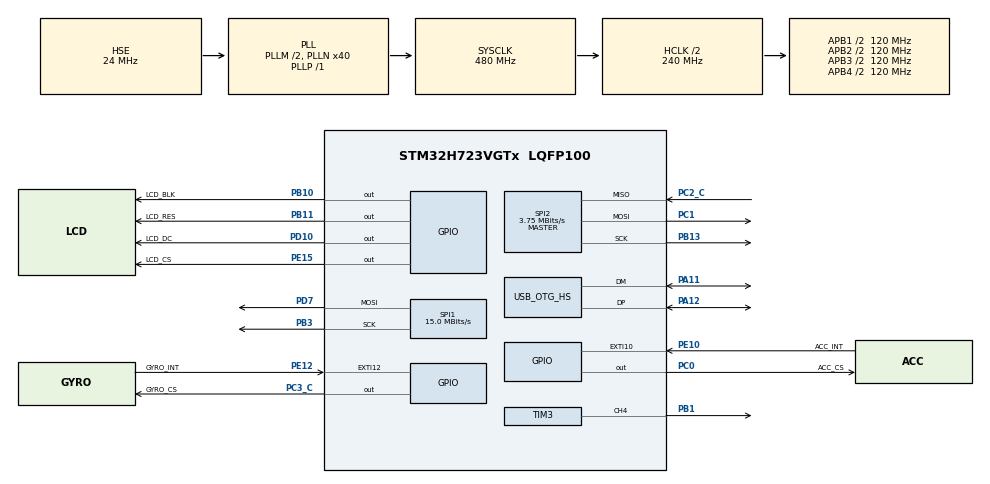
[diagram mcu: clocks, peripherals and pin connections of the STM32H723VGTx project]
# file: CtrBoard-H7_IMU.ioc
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Dma.Request0=SPI2_RX
Dma.Request1=SPI2_TX
Dma.SPI2_RX.0.Direction=DMA_PERIPH_TO_MEMORY
Dma.SPI2_RX.0.EventEnable=DISABLE
Dma.SPI2_RX.0.FIFOMode=DMA_FIFOMODE_DISABLE
Dma.SPI2_RX.0.Instance=DMA1_Stream0
Dma.SPI2_RX.0.MemDataAlignment=DMA_MDATAALIGN_BYTE
Dma.SPI2_RX.0.MemInc=DMA_MINC_ENABLE
Dma.SPI2_RX.0.Mode=DMA_NORMAL
Dma.SPI2_RX.0.PeriphDataAlignment=DMA_PDATAALIGN_BYTE
Dma.SPI2_RX.0.PeriphInc=DMA_PINC_DISABLE
Dma.SPI2_RX.0.Polarity=HAL_DMAMUX_REQ_GEN_RISING
Dma.SPI2_RX.0.Priority=DMA_PRIORITY_VERY_HIGH
Dma.SPI2_RX.0.RequestNumber=1
Dma.SPI2_RX.0.SignalID=NONE
Dma.SPI2_RX.0.SyncEnable=DISABLE
Dma.SPI2_RX.0.SyncPolarity=HAL_DMAMUX_SYNC_NO_EVENT
Dma.SPI2_RX.0.SyncRequestNumber=1
Dma.SPI2_RX.0.SyncSignalID=NONE
Dma.SPI2_TX.1.Direction=DMA_MEMORY_TO_PERIPH
Dma.SPI2_TX.1.EventEnable=DISABLE
Dma.SPI2_TX.1.FIFOMode=DMA_FIFOMODE_DISABLE
Dma.SPI2_TX.1.Instance=DMA1_Stream1
Dma.SPI2_TX.1.MemDataAlignment=DMA_MDATAALIGN_BYTE
Dma.SPI2_TX.1.MemInc=DMA_MINC_ENABLE
Dma.SPI2_TX.1.Mode=DMA_NORMAL
Dma.SPI2_TX.1.PeriphDataAlignment=DMA_PDATAALIGN_BYTE
Dma.SPI2_TX.1.PeriphInc=DMA_PINC_DISABLE
Dma.SPI2_TX.1.Polarity=HAL_DMAMUX_REQ_GEN_RISING
Dma.SPI2_TX.1.Priority=DMA_PRIORITY_HIGH
Dma.SPI2_TX.1.RequestNumber=1
Dma.SPI2_TX.1.SignalID=NONE
Dma.SPI2_TX.1.SyncEnable=DISABLE
Dma.SPI2_TX.1.SyncPolarity=HAL_DMAMUX_SYNC_NO_EVENT
Dma.SPI2_TX.1.SyncRequestNumber=1
Dma.SPI2_TX.1.SyncSignalID=NONE
Mcu.Family=STM32H7
Mcu.Name=STM32H723VGTx
Mcu.Package=LQFP100
NVIC.DMA1_Stream0_IRQn=true\:1\:0\:true\:false\:true\:false\:true\:true
NVIC.DMA1_Stream1_IRQn=true\:2\:0\:true\:false\:true\:false\:true\:true
NVIC.EXTI15_10_IRQn=true\:5\:0\:true\:false\:true\:true\:true\:true
NVIC.OTG_HS_IRQn=true\:3\:0\:true\:false\:true\:false\:true\:true
NVIC.PriorityGroup=NVIC_PRIORITYGROUP_4
NVIC.SPI2_IRQn=true\:5\:0\:true\:false\:true\:false\:true\:true
PA11.Mode=Device_Only_FS
PA11.Signal=USB_OTG_HS_DM
PA12.Mode=Device_Only_FS
PA12.Signal=USB_OTG_HS_DP
PA13(JTMS/SWDIO).Mode=Serial_Wire
PA13(JTMS/SWDIO).Signal=DEBUG_JTMS-SWDIO
PA14(JTCK/SWCLK).Mode=Serial_Wire
PA14(JTCK/SWCLK).Signal=DEBUG_JTCK-SWCLK
PB1.Signal=S_TIM3_CH4
PB10.GPIO_Label=LCD_BLK
PB10.Signal=GPIO_Output
PB11.GPIO_Label=LCD_RES
PB11.Signal=GPIO_Output
PB13.GPIO_Speed=GPIO_SPEED_FREQ_VERY_HIGH
PB13.Mode=Full_Duplex_Master
PB13.Signal=SPI2_SCK
PB3(JTDO/TRACESWO).Mode=TX_Only_Simplex_Unidirect_Master
PB3(JTDO/TRACESWO).Signal=SPI1_SCK
PC0.GPIO_Label=ACC_CS
PC0.GPIO_Speed=GPIO_SPEED_FREQ_VERY_HIGH
PC0.PinState=GPIO_PIN_SET
PC0.Signal=GPIO_Output
PC1.GPIO_Speed=GPIO_SPEED_FREQ_VERY_HIGH
PC1.Mode=Full_Duplex_Master
PC1.Signal=SPI2_MOSI
PC2_C.GPIO_Speed=GPIO_SPEED_FREQ_VERY_HIGH
PC2_C.Mode=Full_Duplex_Master
PC2_C.Signal=SPI2_MISO
PC3_C.GPIO_Label=GYRO_CS
PC3_C.GPIO_Speed=GPIO_SPEED_FREQ_VERY_HIGH
PC3_C.PinState=GPIO_PIN_SET
PC3_C.Signal=GPIO_Output
PD10.GPIO_Label=LCD_DC
PD10.Signal=GPIO_Output
PD7.Mode=TX_Only_Simplex_Unidirect_Master
PD7.Signal=SPI1_MOSI
PE10.GPIO_Label=ACC_INT
PE10.Signal=GPXTI10
PE12.GPIO_Label=GYRO_INT
PE12.Signal=GPXTI12
PE15.GPIO_Label=LCD_CS
PE15.Signal=GPIO_Output
PH0-OSC_IN.Mode=HSE-External-Oscillator
PH0-OSC_IN.Signal=RCC_OSC_IN
PH1-OSC_OUT.Mode=HSE-External-Oscillator
PH1-OSC_OUT.Signal=RCC_OSC_OUT
ProjectManager.HeapSize=0x200
ProjectManager.StackSize=0x800
ProjectManager.TargetToolchain=MDK-ARM V5.27
RCC.ADCFreq_Value=48375000
RCC.APB1Freq_Value=120000000
RCC.APB2Freq_Value=120000000
RCC.APB3Freq_Value=120000000
RCC.APB4Freq_Value=120000000
RCC.CortexFreq_Value=480000000
RCC.D1PPRE=RCC_APB3_DIV2
RCC.D2PPRE1=RCC_APB1_DIV2
RCC.D2PPRE2=RCC_APB2_DIV2
RCC.D3PPRE=RCC_APB4_DIV2
RCC.DIVM1=2
RCC.DIVN1=40
RCC.DIVP1=1
RCC.DIVQ1=4
RCC.HCLKFreq_Value=240000000
RCC.HPRE=RCC_HCLK_DIV2
RCC.HSE_VALUE=24000000
RCC.PLL2FRACN=0
RCC.PLL3FRACN=0
RCC.PLLFRACN=0
RCC.PLLSourceVirtual=RCC_PLLSOURCE_HSE
RCC.SYSCLKFreq_VALUE=480000000
RCC.SYSCLKSource=RCC_SYSCLKSOURCE_PLLCLK
RCC.USBCLockSelection=RCC_USBCLKSOURCE_HSI48
RCC.USBFreq_Value=48000000
SH.S_TIM3_CH4.0=TIM3_CH4,PWM Generation4 CH4
SPI1.BaudRatePrescaler=SPI_BAUDRATEPRESCALER_8
SPI1.CLKPolarity=SPI_POLARITY_HIGH
SPI1.CalculateBaudRate=15.0 MBits/s
SPI1.DataSize=SPI_DATASIZE_8BIT
SPI1.Direction=SPI_DIRECTION_2LINES_TXONLY
SPI1.Mode=SPI_MODE_MASTER
SPI1.VirtualType=VM_MASTER
SPI2.BaudRatePrescaler=SPI_BAUDRATEPRESCALER_32
SPI2.CLKPhase=SPI_PHASE_2EDGE
SPI2.CLKPolarity=SPI_POLARITY_HIGH
SPI2.CalculateBaudRate=3.75 MBits/s
SPI2.DataSize=SPI_DATASIZE_8BIT
SPI2.Direction=SPI_DIRECTION_2LINES
SPI2.Mode=SPI_MODE_MASTER
SPI2.VirtualType=VM_MASTER
TIM3.AutoReloadPreload=TIM_AUTORELOAD_PRELOAD_ENABLE
TIM3.Channel-PWM\ Generation4\ CH4=TIM_CHANNEL_4
TIM3.Period=10000-1
TIM3.Prescaler=24-1
USB_DEVICE.CLASS_NAME_HS=CDC
USB_DEVICE.VirtualMode=Cdc
USB_DEVICE.VirtualModeHS=Cdc_HS
USB_OTG_HS.VirtualMode-Device_Only_FS=Device_Only_FS
VP_USB_DEVICE_VS_USB_DEVICE_CDC_HS.Mode=CDC_HS
board=custom

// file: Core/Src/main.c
/* USER CODE BEGIN Header */
/**
  ******************************************************************************
  * @file           : main.c
  * @brief          : Main program body
  ******************************************************************************
  * @attention
  *
  * Copyright (c) 2024 STMicroelectronics.
  * All rights reserved.
  *
  * This software is licensed under terms that can be found in the LICENSE file
  * in the root directory of this software component.
  * If no LICENSE file comes with this software, it is provided AS-IS.
  *
  ******************************************************************************
  */
/* USER CODE END Header */
#include "main.h"
#include "dma.h"
#include "spi.h"
#include "tim.h"
#include "usb_device.h"
#include "gpio.h"

/* USER CODE BEGIN Includes */
#include "BMI088driver.h"
#include "imu_temp_ctrl.h"
#include "usb_device.h"
#include "msg_server.h"
#include "port_usb.h"
#include "imu_commands.h"
#include "lcd.h"
/* USER CODE END Includes */

/* USER CODE BEGIN PV */
/* gyro, accel, temp 变量已在 imu_temp_ctrl.c 中定义 */
/* USER CODE END PV */

void SystemClock_Config(void);

int main(void)
{

  /* MCU Configuration--------------------------------------------------------*/

  /* Reset of all peripherals, Initializes the Flash interface and the Systick. */
  HAL_Init();

  /* Configure the system clock */
  SystemClock_Config();

  /* Initialize all configured peripherals */
  MX_GPIO_Init();
  MX_DMA_Init();
  MX_SPI2_Init();
  MX_SPI1_Init();
  MX_TIM3_Init();
  MX_USB_DEVICE_Init();
  /* USER CODE BEGIN 2 */
  /* LCD 初始化 */
  LCD_Init();
  HAL_Delay(100);  /* 等待USB枚举 */
  /* 初始化消息服务器和命令处理 */
  msg_server_init();
  port_usb_init();
  imu_commands_register();

  IMU_TempCtrl_Init();

	LCD_Fill(0,0,LCD_W,LCD_H,BLACK);

  /* USER CODE END 2 */

  /* Infinite loop */
  while (1)
  {

    /* USER CODE BEGIN 3 */
    /* USB 帧解析 */
    port_usb_process();

    /* 命令分发处理 */
    msg_server_poll();

    /* IMU 数据处理（仅在未暂停时） */
    if (!imu_is_suspended()) {
        IMU_TempCtrl_Loop();
    }
  }
  /* USER CODE END 3 */
}

void SystemClock_Config(void)
{
  RCC_OscInitTypeDef RCC_OscInitStruct = {0};
  RCC_ClkInitTypeDef RCC_ClkInitStruct = {0};

  /** Supply configuration update enable
  */
  HAL_PWREx_ConfigSupply(PWR_LDO_SUPPLY);

  /** Configure the main internal regulator output voltage
  */
  __HAL_PWR_VOLTAGESCALING_CONFIG(PWR_REGULATOR_VOLTAGE_SCALE0);

  while(!__HAL_PWR_GET_FLAG(PWR_FLAG_VOSRDY)) {}

  /** Initializes the RCC Oscillators according to the specified parameters
  * in the RCC_OscInitTypeDef structure.
  */
  RCC_OscInitStruct.OscillatorType = RCC_OSCILLATORTYPE_HSI48|RCC_OSCILLATORTYPE_HSE;
  RCC_OscInitStruct.HSEState = RCC_HSE_ON;
  RCC_OscInitStruct.HSI48State = RCC_HSI48_ON;
  RCC_OscInitStruct.PLL.PLLState = RCC_PLL_ON;
  RCC_OscInitStruct.PLL.PLLSource = RCC_PLLSOURCE_HSE;
  RCC_OscInitStruct.PLL.PLLM = 2;
  RCC_OscInitStruct.PLL.PLLN = 40;
  RCC_OscInitStruct.PLL.PLLP = 1;
  RCC_OscInitStruct.PLL.PLLQ = 4;
  RCC_OscInitStruct.PLL.PLLR = 2;
  RCC_OscInitStruct.PLL.PLLRGE = RCC_PLL1VCIRANGE_3;
  RCC_OscInitStruct.PLL.PLLVCOSEL = RCC_PLL1VCOWIDE;
  RCC_OscInitStruct.PLL.PLLFRACN = 0;
  if (HAL_RCC_OscConfig(&RCC_OscInitStruct) != HAL_OK)
  {
    Error_Handler();
  }

  /** Initializes the CPU, AHB and APB buses clocks
  */
  RCC_ClkInitStruct.ClockType = RCC_CLOCKTYPE_HCLK|RCC_CLOCKTYPE_SYSCLK
                              |RCC_CLOCKTYPE_PCLK1|RCC_CLOCKTYPE_PCLK2
                              |RCC_CLOCKTYPE_D3PCLK1|RCC_CLOCKTYPE_D1PCLK1;
  RCC_ClkInitStruct.SYSCLKSource = RCC_SYSCLKSOURCE_PLLCLK;
  RCC_ClkInitStruct.SYSCLKDivider = RCC_SYSCLK_DIV1;
  RCC_ClkInitStruct.AHBCLKDivider = RCC_HCLK_DIV2;
  RCC_ClkInitStruct.APB3CLKDivider = RCC_APB3_DIV2;
  RCC_ClkInitStruct.APB1CLKDivider = RCC_APB1_DIV2;
  RCC_ClkInitStruct.APB2CLKDivider = RCC_APB2_DIV2;
  RCC_ClkInitStruct.APB4CLKDivider = RCC_APB4_DIV2;

  if (HAL_RCC_ClockConfig(&RCC_ClkInitStruct, FLASH_LATENCY_3) != HAL_OK)
  {
    Error_Handler();
  }
}

void Error_Handler(void)
{
  __disable_irq();
  while (1)
  {
  }
}
